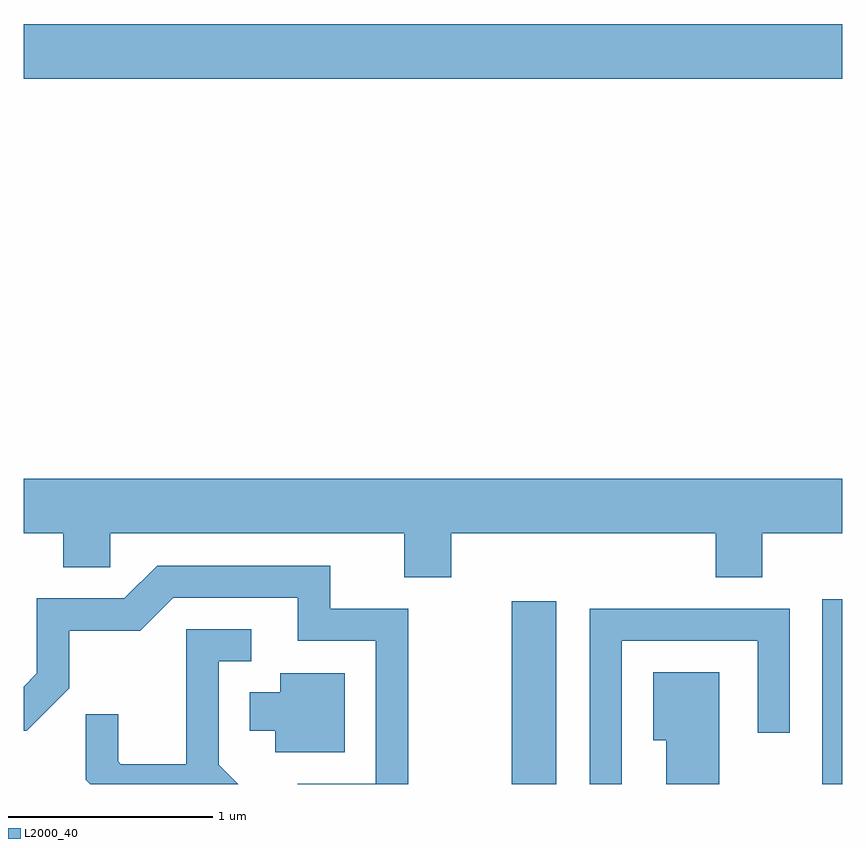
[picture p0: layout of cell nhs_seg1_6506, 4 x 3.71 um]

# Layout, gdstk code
import gdstk
lib = gdstk.Library(unit=1e-6, precision=1e-09)
def R(c, l, rs):  # rectangles x0, y0, x1, y1
    for r in rs: c.add(gdstk.rectangle(r[:2], r[2:], *l))
def P(c, l, *ps):  # polygons
    for p in ps: c.add(gdstk.Polygon(p, *l))
L2000_40 = (2000, 40)

nhs_seg1_6506 = lib.new_cell('nhs_seg1_6506')
R(nhs_seg1_6506, L2000_40, [(383.996,871.712,384.214,872.604), (385.511,871.712,385.611,872.614), (381.611,875.156,385.611,875.424)])
P(nhs_seg1_6506, L2000_40, [(383.699,872.936),(384.991,872.936),(384.991,872.721),(385.219,872.721),(385.219,872.936),(385.611,872.936),(385.611,873.204),(381.611,873.204),(381.611,872.936),(381.806,872.936),(381.806,872.771),(382.034,872.771),(382.034,872.936),(383.471,872.936),(383.471,872.721),(383.699,872.721)],
  [(383.489,872.569),(383.109,872.569),(383.109,872.779),(382.264,872.779),(382.104,872.619),(381.676,872.619),(381.676,872.252),(381.611,872.186),(381.611,871.971),(381.627,871.971),(381.834,872.179),(381.834,872.461),(382.182,872.461),(382.342,872.621),(382.951,872.621),(382.951,872.411),(383.331,872.411),(383.331,871.714),(382.951,871.714),(382.951,871.712),(383.489,871.712)],
  [(384.534,872.411),(385.196,872.411),(385.196,871.963),(385.354,871.963),(385.354,872.569),(384.376,872.569),(384.376,871.712),(384.534,871.712)],
  [(382.564,871.807),(382.564,872.311),(382.723,872.311),(382.723,872.469),(382.406,872.469),(382.406,871.809),(382.087,871.809),(382.074,871.822),(382.074,872.053),(381.916,872.053),(381.916,871.732),(381.936,871.712),(382.659,871.712)],
  [(385.009,872.259),(384.686,872.259),(384.686,871.926),(384.751,871.926),(384.751,871.712),(385.009,871.712)],
  [(383.179,872.254),(382.866,872.254),(382.866,872.159),(382.716,872.159),(382.716,871.971),(382.841,871.971),(382.841,871.866),(383.179,871.866)])

lib.write_gds('nhs_seg1_6506.gds')
